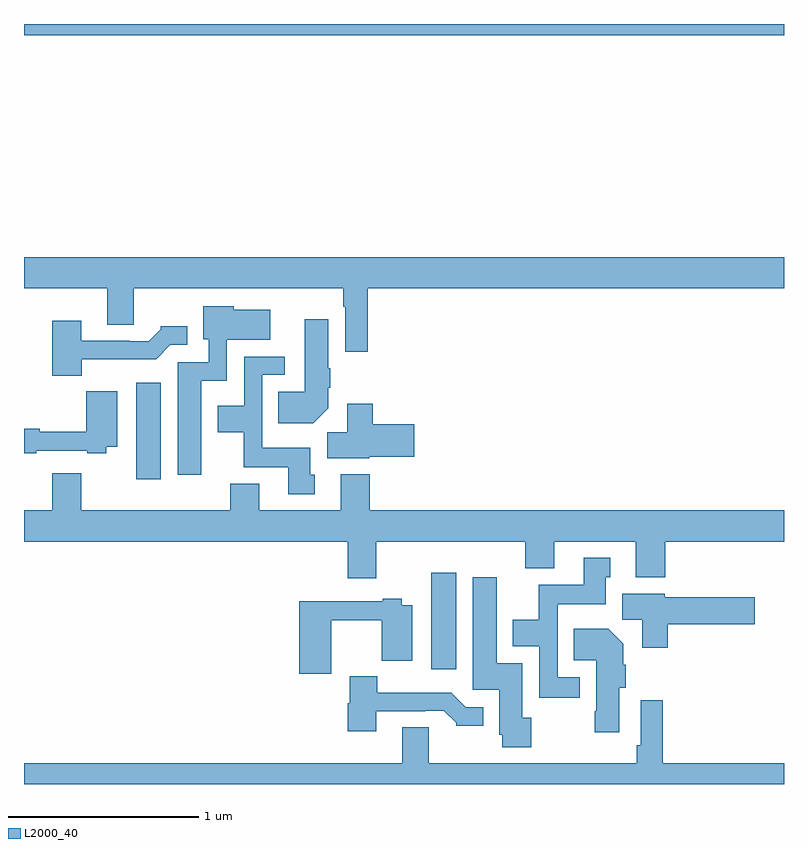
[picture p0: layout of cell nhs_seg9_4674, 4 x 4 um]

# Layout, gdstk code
import gdstk
lib = gdstk.Library(unit=1e-6, precision=1e-09)
def R(c, l, rs):  # rectangles x0, y0, x1, y1
    for r in rs: c.add(gdstk.rectangle(r[:2], r[2:], *l))
def P(c, l, *ps):  # polygons
    for p in ps: c.add(gdstk.Polygon(p, *l))
L2000_40 = (2000, 40)

nhs_seg9_4674 = lib.new_cell('nhs_seg9_4674')
R(nhs_seg9_4674, L2000_40, [(383.144,1173.105,383.275,1173.613), (381.59,1174.104,381.721,1174.612), (381,1176.44,385,1176.5)])
P(nhs_seg9_4674, L2000_40, [(382.808,1175.108),(385,1175.108),(385,1175.272),(381,1175.272),(381,1175.108),(381.437,1175.108),(381.437,1174.918),(381.577,1174.918),(381.577,1175.108),(382.68,1175.108),(382.68,1175.012),(382.692,1175.012),(382.692,1174.776),(382.808,1174.776)],
  [(381.934,1174.622),(382.068,1174.622),(382.068,1174.838),(382.297,1174.838),(382.297,1174.996),(382.104,1174.996),(382.104,1175.014),(381.944,1175.014),(381.944,1174.842),(381.972,1174.842),(381.972,1174.719),(381.809,1174.719),(381.809,1174.128),(381.934,1174.128)],
  [(382.6,1174.478),(382.6,1174.585),(382.613,1174.585),(382.613,1174.688),(382.6,1174.688),(382.6,1174.945),(382.478,1174.945),(382.478,1174.564),(382.339,1174.564),(382.339,1174.4),(382.522,1174.4)],
  [(381.304,1174.736),(381.695,1174.736),(381.771,1174.812),(381.859,1174.812),(381.859,1174.909),(381.72,1174.909),(381.72,1174.894),(381.656,1174.83),(381.557,1174.83),(381.557,1174.833),(381.301,1174.833),(381.301,1174.939),(381.149,1174.939),(381.149,1174.649),(381.304,1174.649)],
  [(382.531,1174.128),(382.507,1174.128),(382.507,1174.27),(382.254,1174.27),(382.254,1174.653),(382.372,1174.653),(382.372,1174.749),(382.158,1174.749),(382.158,1174.492),(382.019,1174.492),(382.019,1174.352),(382.156,1174.352),(382.156,1174.166),(382.391,1174.166),(382.391,1174.026),(382.531,1174.026)],
  [(381.065,1174.254),(381.332,1174.254),(381.332,1174.242),(381.432,1174.242),(381.432,1174.274),(381.49,1174.274),(381.49,1174.567),(381.328,1174.567),(381.328,1174.355),(381.084,1174.355),(381.084,1174.37),(381,1174.37),(381,1174.242),(381.065,1174.242)],
  [(382.818,1174.223),(383.053,1174.223),(383.053,1174.394),(382.835,1174.394),(382.835,1174.501),(382.7,1174.501),(382.7,1174.352),(382.595,1174.352),(382.595,1174.214),(382.818,1174.214)],
  [(382.855,1173.776),(383.639,1173.776),(383.639,1173.635),(383.791,1173.635),(383.791,1173.776),(384.221,1173.776),(384.221,1173.587),(384.374,1173.587),(384.374,1173.776),(385,1173.776),(385,1173.94),(382.82,1173.94),(382.82,1174.129),(382.667,1174.129),(382.667,1173.94),(382.237,1173.94),(382.237,1174.081),(382.085,1174.081),(382.085,1173.94),(381.301,1173.94),(381.301,1174.135),(381.149,1174.135),(381.149,1173.94),(381,1173.94),(381,1173.776),(382.703,1173.776),(382.703,1173.582),(382.855,1173.582)],
  [(383.926,1173.063),(383.808,1173.063),(383.808,1173.446),(384.061,1173.446),(384.061,1173.588),(384.085,1173.588),(384.085,1173.691),(383.945,1173.691),(383.945,1173.55),(383.71,1173.55),(383.71,1173.364),(383.573,1173.364),(383.573,1173.224),(383.712,1173.224),(383.712,1172.955),(383.926,1172.955)],
  [(383.67,1172.85),(383.623,1172.85),(383.623,1173.136),(383.488,1173.136),(383.488,1173.589),(383.363,1173.589),(383.363,1172.997),(383.501,1172.997),(383.501,1172.76),(383.518,1172.76),(383.518,1172.694),(383.67,1172.694)],
  [(384.389,1173.341),(384.847,1173.341),(384.847,1173.483),(384.372,1173.483),(384.372,1173.502),(384.149,1173.502),(384.149,1173.364),(384.254,1173.364),(384.254,1173.216),(384.389,1173.216)],
  [(382.618,1173.361),(382.882,1173.361),(382.882,1173.149),(383.044,1173.149),(383.044,1173.442),(382.989,1173.442),(382.989,1173.475),(382.889,1173.475),(382.889,1173.462),(382.448,1173.462),(382.448,1173.081),(382.618,1173.081)],
  [(384.133,1173.006),(384.167,1173.006),(384.167,1173.128),(384.154,1173.128),(384.154,1173.238),(384.076,1173.316),(383.893,1173.316),(383.893,1173.152),(384.011,1173.152),(384.011,1172.884),(384.004,1172.884),(384.004,1172.772),(384.133,1172.772)],
  [(382.855,1172.883),(383.111,1172.883),(383.111,1172.886),(383.21,1172.886),(383.274,1172.822),(383.274,1172.807),(383.416,1172.807),(383.416,1172.904),(383.325,1172.904),(383.249,1172.98),(382.858,1172.98),(382.858,1173.067),(382.715,1173.067),(382.715,1172.925),(382.703,1172.925),(382.703,1172.778),(382.855,1172.778)],
  [(385,1172.608),(384.362,1172.608),(384.362,1172.941),(384.246,1172.941),(384.246,1172.704),(384.226,1172.704),(384.226,1172.608),(383.131,1172.608),(383.131,1172.798),(382.991,1172.798),(382.991,1172.608),(381,1172.608),(381,1172.5),(385,1172.5)])

lib.write_gds('nhs_seg9_4674.gds')
